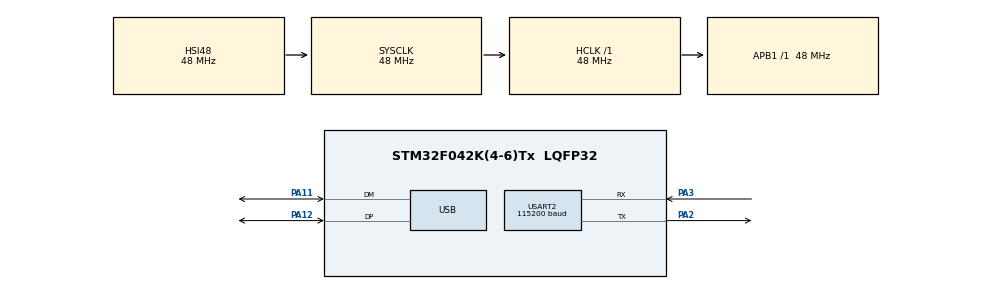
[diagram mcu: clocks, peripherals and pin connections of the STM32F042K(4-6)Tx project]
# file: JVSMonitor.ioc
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Mcu.Family=STM32F0
Mcu.Name=STM32F042K(4-6)Tx
Mcu.Package=LQFP32
NVIC.USB_IRQn=true\:0\:0\:false\:false\:true\:false
PA11.Mode=Device
PA11.Signal=USB_DM
PA12.Mode=Device
PA12.Signal=USB_DP
PA2.Mode=Asynchronous
PA2.Signal=USART2_TX
PA3.Mode=Asynchronous
PA3.Signal=USART2_RX
ProjectManager.HeapSize=0x200
ProjectManager.StackSize=0x400
ProjectManager.TargetToolchain=SW4STM32
RCC.AHBFreq_Value=48000000
RCC.APB1Freq_Value=48000000
RCC.APB1TimFreq_Value=48000000
RCC.HCLKFreq_Value=48000000
RCC.SYSCLKFreq_VALUE=48000000
RCC.SYSCLKSource=RCC_SYSCLKSOURCE_HSI48
USART2.BaudRate=115200
USART2.DMADisableonRxErrorParam=UART_ADVFEATURE_DMA_ENABLEONRXERROR
USART2.Mode=MODE_RX
USART2.OverSampling=UART_OVERSAMPLING_16
USART2.OverrunDisableParam=UART_ADVFEATURE_OVERRUN_ENABLE
USART2.VirtualMode-Asynchronous=VM_ASYNC
USB_DEVICE.APP_RX_DATA_SIZE=16
USB_DEVICE.APP_TX_DATA_SIZE=1
USB_DEVICE.CLASS_NAME_FS=CDC
USB_DEVICE.MANUFACTURER_STRING=TOYOSHIMA-HOUSE
USB_DEVICE.PID_CDC_FS=0x2429
USB_DEVICE.PRODUCT_STRING_CDC_FS=JVSMonitor
USB_DEVICE.SERIALNUMBER_STRING_CDC_FS=0
USB_DEVICE.USBD_MAX_STR_DESC_SIZ=16
USB_DEVICE.USBD_SELF_POWERED=0
USB_DEVICE.VID=0x6666
USB_DEVICE.VirtualMode=Cdc
USB_DEVICE.VirtualModeFS=Cdc_FS
VP_RCC_USB.Mode=CRS SYNC Source USB
VP_USB_DEVICE_VS_USB_DEVICE_CDC_FS.Mode=CDC_FS
board=custom

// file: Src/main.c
/* USER CODE BEGIN Header */
/**
  ******************************************************************************
  * @file           : main.c
  * @brief          : Main program body
  ******************************************************************************
  * This notice applies to any and all portions of this file
  * that are not between comment pairs USER CODE BEGIN and
  * USER CODE END. Other portions of this file, whether
  * inserted by the user or by software development tools
  * are owned by their respective copyright owners.
  *
  * Copyright (c) 2019 STMicroelectronics International N.V.
  * All rights reserved.
  *
  * Redistribution and use in source and binary forms, with or without
  * modification, are permitted, provided that the following conditions are met:
  *
  * 1. Redistribution of source code must retain the above copyright notice,
  *    this list of conditions and the following disclaimer.
  * 2. Redistributions in binary form must reproduce the above copyright notice,
  *    this list of conditions and the following disclaimer in the documentation
  *    and/or other materials provided with the distribution.
  * 3. Neither the name of STMicroelectronics nor the names of other
  *    contributors to this software may be used to endorse or promote products
  *    derived from this software without specific written permission.
  * 4. This software, including modifications and/or derivative works of this
  *    software, must execute solely and exclusively on microcontroller or
  *    microprocessor devices manufactured by or for STMicroelectronics.
  * 5. Redistribution and use of this software other than as permitted under
  *    this license is void and will automatically terminate your rights under
  *    this license.
  *
  * THIS SOFTWARE IS PROVIDED BY STMICROELECTRONICS AND CONTRIBUTORS "AS IS"
  * AND ANY EXPRESS, IMPLIED OR STATUTORY WARRANTIES, INCLUDING, BUT NOT
  * LIMITED TO, THE IMPLIED WARRANTIES OF MERCHANTABILITY, FITNESS FOR A
  * PARTICULAR PURPOSE AND NON-INFRINGEMENT OF THIRD PARTY INTELLECTUAL PROPERTY
  * RIGHTS ARE DISCLAIMED TO THE FULLEST EXTENT PERMITTED BY LAW. IN NO EVENT
  * SHALL STMICROELECTRONICS OR CONTRIBUTORS BE LIABLE FOR ANY DIRECT, INDIRECT,
  * INCIDENTAL, SPECIAL, EXEMPLARY, OR CONSEQUENTIAL DAMAGES (INCLUDING, BUT NOT
  * LIMITED TO, PROCUREMENT OF SUBSTITUTE GOODS OR SERVICES; LOSS OF USE, DATA,
  * OR PROFITS; OR BUSINESS INTERRUPTION) HOWEVER CAUSED AND ON ANY THEORY OF
  * LIABILITY, WHETHER IN CONTRACT, STRICT LIABILITY, OR TORT (INCLUDING
  * NEGLIGENCE OR OTHERWISE) ARISING IN ANY WAY OUT OF THE USE OF THIS SOFTWARE,
  * EVEN IF ADVISED OF THE POSSIBILITY OF SUCH DAMAGE.
  *
  ******************************************************************************
  */
/* USER CODE END Header */

#include "main.h"
#include "usb_device.h"

/* USER CODE BEGIN Includes */

#include "usbd_cdc_if.h"

/* USER CODE END Includes */

/* USER CODE BEGIN PTD */

enum {
  S_SYNC,
  S_NODE,
  S_BYTE,
  S_DATA,
};

enum {
  B_AVAILABLE,
  B_ENQUEUED,
};
/* USER CODE END PTD */

/* USER CODE BEGIN PD */

#define LOG_BUFFER_NUM 4
#define LOG_BUFFER_SIZE 64

/* USER CODE END PD */

UART_HandleTypeDef huart2;

/* USER CODE BEGIN PV */

uint8_t log_buffer[LOG_BUFFER_NUM][LOG_BUFFER_SIZE];
uint8_t log_buffer_state[LOG_BUFFER_NUM];
uint8_t log_buffer_offset = 0;
uint8_t log_buffer_id = 0;
int8_t log_buffer_flush_id = -1;
int8_t log_buffer_onflight_id = -1;

/* USER CODE END PV */

void SystemClock_Config(void);
static void MX_GPIO_Init(void);
static void MX_USART2_UART_Init(void);
/* USER CODE BEGIN PFP */

static void LogPushByte(uint8_t data);
static void LogFlush();

/* USER CODE END PFP */

int main(void)
{

  /* MCU Configuration--------------------------------------------------------*/

  /* Reset of all peripherals, Initializes the Flash interface and the Systick. */
  HAL_Init();

  /* Configure the system clock */
  SystemClock_Config();

  /* Initialize all configured peripherals */
  MX_GPIO_Init();
  MX_USB_DEVICE_Init();
  MX_USART2_UART_Init();

  /* Infinite loop */
  /* USER CODE BEGIN WHILE */
  for (int i = 0; i < LOG_BUFFER_NUM; ++i)
    log_buffer_state[i] = B_AVAILABLE;

  int state = S_SYNC;
  int byte = 0;

  while (1)
  {
    uint8_t data;
    if (HAL_OK != HAL_UART_Receive(&huart2, &data, 1, 0)) {
      LogFlush();
      continue;
    }
    switch (state) {
      case S_SYNC:
        if (data != 0xe0)
          continue;
        state = S_NODE;
        break;
      case S_NODE:
        if (data != 0xd0)
          state = S_BYTE;
        break;
      case S_BYTE:
        if (data != 0xd0) {
          byte = data;
          state = S_DATA;
        }
        break;
      case S_DATA:
        if (data != 0xd0)
          byte--;
        if (byte == 0)
          state = S_SYNC;
        break;
    }
    LogPushByte(data);

    /* USER CODE END WHILE */

  }
}

void SystemClock_Config(void)
{
  RCC_OscInitTypeDef RCC_OscInitStruct = {0};
  RCC_ClkInitTypeDef RCC_ClkInitStruct = {0};
  RCC_PeriphCLKInitTypeDef PeriphClkInit = {0};
  RCC_CRSInitTypeDef RCC_CRSInitStruct = {0};

  /**Initializes the CPU, AHB and APB busses clocks
  */
  RCC_OscInitStruct.OscillatorType = RCC_OSCILLATORTYPE_HSI48;
  RCC_OscInitStruct.HSI48State = RCC_HSI48_ON;
  RCC_OscInitStruct.PLL.PLLState = RCC_PLL_NONE;
  if (HAL_RCC_OscConfig(&RCC_OscInitStruct) != HAL_OK)
  {
    Error_Handler();
  }
  /**Initializes the CPU, AHB and APB busses clocks
  */
  RCC_ClkInitStruct.ClockType = RCC_CLOCKTYPE_HCLK|RCC_CLOCKTYPE_SYSCLK
                              |RCC_CLOCKTYPE_PCLK1;
  RCC_ClkInitStruct.SYSCLKSource = RCC_SYSCLKSOURCE_HSI48;
  RCC_ClkInitStruct.AHBCLKDivider = RCC_SYSCLK_DIV1;
  RCC_ClkInitStruct.APB1CLKDivider = RCC_HCLK_DIV1;

  if (HAL_RCC_ClockConfig(&RCC_ClkInitStruct, FLASH_LATENCY_1) != HAL_OK)
  {
    Error_Handler();
  }
  PeriphClkInit.PeriphClockSelection = RCC_PERIPHCLK_USB;
  PeriphClkInit.UsbClockSelection = RCC_USBCLKSOURCE_HSI48;

  if (HAL_RCCEx_PeriphCLKConfig(&PeriphClkInit) != HAL_OK)
  {
    Error_Handler();
  }
  /**Enable the SYSCFG APB clock
  */
  __HAL_RCC_CRS_CLK_ENABLE();
  /**Configures CRS
  */
  RCC_CRSInitStruct.Prescaler = RCC_CRS_SYNC_DIV1;
  RCC_CRSInitStruct.Source = RCC_CRS_SYNC_SOURCE_USB;
  RCC_CRSInitStruct.Polarity = RCC_CRS_SYNC_POLARITY_RISING;
  RCC_CRSInitStruct.ReloadValue = __HAL_RCC_CRS_RELOADVALUE_CALCULATE(48000000,1000);
  RCC_CRSInitStruct.ErrorLimitValue = 34;
  RCC_CRSInitStruct.HSI48CalibrationValue = 32;

  HAL_RCCEx_CRSConfig(&RCC_CRSInitStruct);
}

static void MX_USART2_UART_Init(void)
{

  huart2.Instance = USART2;
  huart2.Init.BaudRate = 115200;
  huart2.Init.WordLength = UART_WORDLENGTH_8B;
  huart2.Init.StopBits = UART_STOPBITS_1;
  huart2.Init.Parity = UART_PARITY_NONE;
  huart2.Init.Mode = UART_MODE_RX;
  huart2.Init.HwFlowCtl = UART_HWCONTROL_NONE;
  huart2.Init.OverSampling = UART_OVERSAMPLING_16;
  huart2.Init.OneBitSampling = UART_ONE_BIT_SAMPLE_DISABLE;
  huart2.AdvancedInit.AdvFeatureInit = UART_ADVFEATURE_NO_INIT;
  if (HAL_UART_Init(&huart2) != HAL_OK)
  {
    Error_Handler();
  }

}

static void MX_GPIO_Init(void)
{

  /* GPIO Ports Clock Enable */
  __HAL_RCC_GPIOA_CLK_ENABLE();

}

/* USER CODE BEGIN 4 */

static void LogPushByte(uint8_t data) {
  log_buffer[log_buffer_id][log_buffer_offset++] = data;
  if (LOG_BUFFER_SIZE == log_buffer_offset) {
    uint8_t next_log_buffer_id = (log_buffer_id + 1) % LOG_BUFFER_NUM;
    if (log_buffer_state[next_log_buffer_id] != B_AVAILABLE) {
      // If we do not have any other available buffer, reuse the last buffer
      // again with a buffer overflow mark.
      log_buffer[log_buffer_id][0] = 0xd0;  // marker code
      log_buffer[log_buffer_id][1] = 0xf0;  // out-of-spec: buffer overflow
      log_buffer_offset = 2;
    } else {
      log_buffer_state[log_buffer_id] = B_ENQUEUED;
      if (log_buffer_flush_id == -1)
	log_buffer_flush_id = log_buffer_id;
      log_buffer_id = next_log_buffer_id;
      log_buffer_offset = 0;
    }
    LogFlush();
  }
}

static void LogFlush() {
  if (log_buffer_flush_id >= 0) {
    if (USBD_OK == CDC_Transmit_FS(log_buffer[log_buffer_flush_id], LOG_BUFFER_SIZE)) {
      if (log_buffer_onflight_id >= 0)
	log_buffer_state[log_buffer_onflight_id] = B_AVAILABLE;
      log_buffer_onflight_id = log_buffer_flush_id;
      log_buffer_flush_id = (log_buffer_flush_id + 1) % LOG_BUFFER_NUM;
      if (log_buffer_state[log_buffer_flush_id] != B_ENQUEUED)
	log_buffer_flush_id = -1;
    }
    return;
  }
  if (0 == log_buffer_offset)
    return;
  if (USBD_OK == CDC_Transmit_FS(log_buffer[log_buffer_id], log_buffer_offset)) {
    if (log_buffer_onflight_id >= 0)
      log_buffer_state[log_buffer_onflight_id] = B_AVAILABLE;
    log_buffer_onflight_id = log_buffer_id;
    log_buffer_id = (log_buffer_id + 1) % LOG_BUFFER_NUM;
    log_buffer_offset = 0;
  }
}

/* USER CODE END 4 */

void Error_Handler(void)
{
}

/************************ (C) COPYRIGHT STMicroelectronics *****END OF FILE****/
